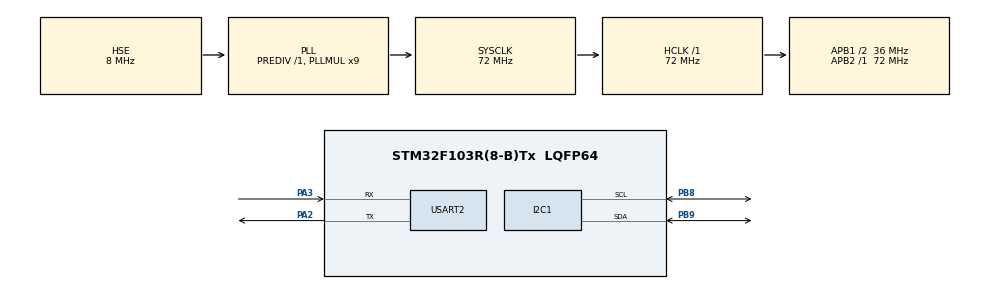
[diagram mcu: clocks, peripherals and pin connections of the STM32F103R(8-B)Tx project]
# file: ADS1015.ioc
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Mcu.Family=STM32F1
Mcu.Name=STM32F103R(8-B)Tx
Mcu.Package=LQFP64
NVIC.PriorityGroup=NVIC_PRIORITYGROUP_4
PA13.Mode=Serial_Wire
PA13.Signal=SYS_JTMS-SWDIO
PA14.Mode=Serial_Wire
PA14.Signal=SYS_JTCK-SWCLK
PA2.Mode=Asynchronous
PA2.Signal=USART2_TX
PA3.Mode=Asynchronous
PA3.Signal=USART2_RX
PB8.Mode=I2C
PB8.Signal=I2C1_SCL
PB9.Mode=I2C
PB9.Signal=I2C1_SDA
PD0-OSC_IN.Mode=HSE-External-Oscillator
PD0-OSC_IN.Signal=RCC_OSC_IN
PD1-OSC_OUT.Mode=HSE-External-Oscillator
PD1-OSC_OUT.Signal=RCC_OSC_OUT
ProjectManager.HeapSize=0x200
ProjectManager.StackSize=0x400
ProjectManager.TargetToolchain=MDK-ARM V5
RCC.AHBFreq_Value=72000000
RCC.APB1CLKDivider=RCC_HCLK_DIV2
RCC.APB1Freq_Value=36000000
RCC.APB1TimFreq_Value=72000000
RCC.APB2Freq_Value=72000000
RCC.APB2TimFreq_Value=72000000
RCC.HCLKFreq_Value=72000000
RCC.PLLMUL=RCC_PLL_MUL9
RCC.PLLSourceVirtual=RCC_PLLSOURCE_HSE
RCC.SYSCLKFreq_VALUE=72000000
RCC.SYSCLKSource=RCC_SYSCLKSOURCE_PLLCLK
RCC.USBFreq_Value=72000000
USART2.VirtualMode=VM_ASYNC
board=custom

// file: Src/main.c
/* USER CODE BEGIN Header */
/**
  ******************************************************************************
  * @file           : main.c
  * @brief          : Main program body
  ******************************************************************************
  * @attention
  *
  * <h2><center>&copy; Copyright (c) 2019 STMicroelectronics.
  * All rights reserved.</center></h2>
  *
  * This software component is licensed by ST under BSD 3-Clause license,
  * the "License"; You may not use this file except in compliance with the
  * License. You may obtain a copy of the License at:
  *                        opensource.org/licenses/BSD-3-Clause
  *
  ******************************************************************************
  */
/* USER CODE END Header */

#include "main.h"
#include "i2c.h"
#include "usart.h"
#include "gpio.h"

/* USER CODE BEGIN Includes */
#include "AD.h"
#include "DEV_Config.h"

	unsigned short state1;
/* USER CODE END Includes */

void SystemClock_Config(void);

int main(void)
{
  /* USER CODE BEGIN 1 */
	int AIN0_DATA,AIN1_DATA,AIN2_DATA,AIN3_DATA;

  /* USER CODE END 1 */

  /* MCU Configuration--------------------------------------------------------*/

  /* Reset of all peripherals, Initializes the Flash interface and the Systick. */
  HAL_Init();

  /* Configure the system clock */
  SystemClock_Config();

  /* Initialize all configured peripherals */
  MX_GPIO_Init();
  MX_USART2_UART_Init();
  MX_I2C1_Init();
  /* USER CODE BEGIN 2 */
	printf("\nADS1015 Test Program ...\r\n");
		if(ADS1015_INIT()!=0x8000)
	{	printf("\nADS1015 Error\r\n");
		return 0;
	}
	state1=ADS1015_INIT();
	printf("\nADS1015 OK\r\n");
  /* USER CODE END 2 */

  /* Infinite loop */
  /* USER CODE BEGIN WHILE */
  while (1)
  {
		 AIN0_DATA=ADS1015_SINGLE_READ(0);
     AIN1_DATA=ADS1015_SINGLE_READ(1);
     AIN2_DATA=ADS1015_SINGLE_READ(2);
     AIN3_DATA=ADS1015_SINGLE_READ(3);
     printf("\nAIN0 = %d(%.2fmv) ,AIN1 = %d(%.2fmv) ,AIN2 = %d(%.2fmv) AIN3 = %d(%.2fmv)\n\r", AIN0_DATA,(float)(AIN0_DATA*0.125), AIN1_DATA,(float)(AIN1_DATA*0.125),AIN2_DATA,(float)(AIN2_DATA*0.125),AIN3_DATA,(float)(AIN3_DATA*0.125));
     DEV_Delay_ms(500);
    /* USER CODE END WHILE */

  }
}

void SystemClock_Config(void)
{
  RCC_OscInitTypeDef RCC_OscInitStruct = {0};
  RCC_ClkInitTypeDef RCC_ClkInitStruct = {0};

  /** Initializes the CPU, AHB and APB busses clocks
  */
  RCC_OscInitStruct.OscillatorType = RCC_OSCILLATORTYPE_HSE;
  RCC_OscInitStruct.HSEState = RCC_HSE_ON;
  RCC_OscInitStruct.HSEPredivValue = RCC_HSE_PREDIV_DIV1;
  RCC_OscInitStruct.HSIState = RCC_HSI_ON;
  RCC_OscInitStruct.PLL.PLLState = RCC_PLL_ON;
  RCC_OscInitStruct.PLL.PLLSource = RCC_PLLSOURCE_HSE;
  RCC_OscInitStruct.PLL.PLLMUL = RCC_PLL_MUL9;
  if (HAL_RCC_OscConfig(&RCC_OscInitStruct) != HAL_OK)
  {
    Error_Handler();
  }
  /** Initializes the CPU, AHB and APB busses clocks
  */
  RCC_ClkInitStruct.ClockType = RCC_CLOCKTYPE_HCLK|RCC_CLOCKTYPE_SYSCLK
                              |RCC_CLOCKTYPE_PCLK1|RCC_CLOCKTYPE_PCLK2;
  RCC_ClkInitStruct.SYSCLKSource = RCC_SYSCLKSOURCE_PLLCLK;
  RCC_ClkInitStruct.AHBCLKDivider = RCC_SYSCLK_DIV1;
  RCC_ClkInitStruct.APB1CLKDivider = RCC_HCLK_DIV2;
  RCC_ClkInitStruct.APB2CLKDivider = RCC_HCLK_DIV1;

  if (HAL_RCC_ClockConfig(&RCC_ClkInitStruct, FLASH_LATENCY_2) != HAL_OK)
  {
    Error_Handler();
  }
}

void Error_Handler(void)
{
}

/************************ (C) COPYRIGHT STMicroelectronics *****END OF FILE****/
